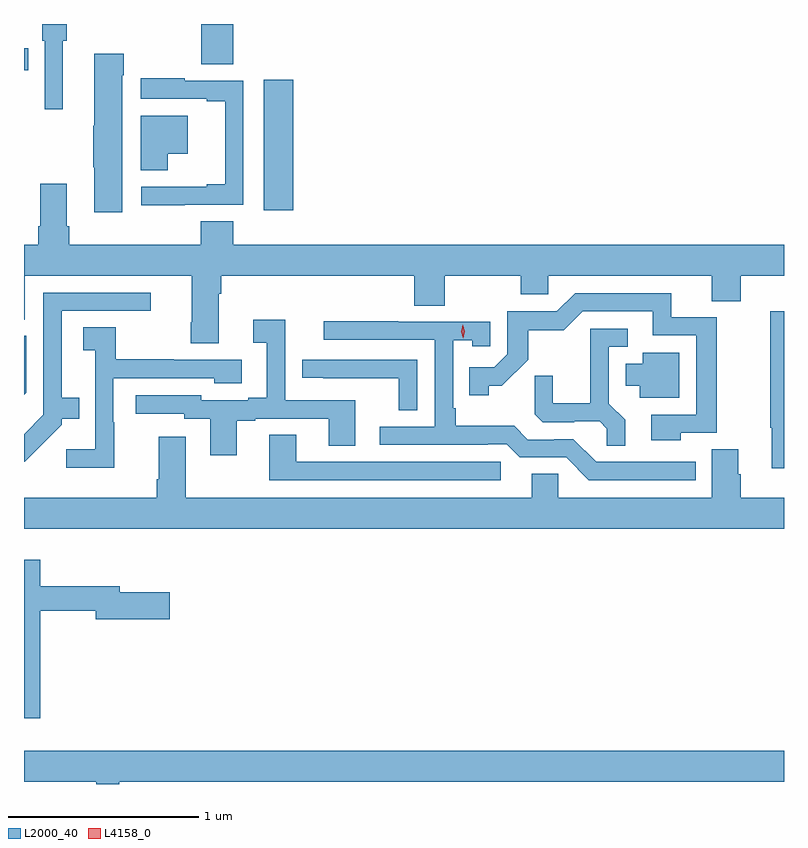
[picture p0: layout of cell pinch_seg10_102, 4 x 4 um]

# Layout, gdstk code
import gdstk
lib = gdstk.Library(unit=1e-6, precision=1e-09)
def R(c, l, rs):  # rectangles x0, y0, x1, y1
    for r in rs: c.add(gdstk.rectangle(r[:2], r[2:], *l))
def P(c, l, *ps):  # polygons
    for p in ps: c.add(gdstk.Polygon(p, *l))
L2000_40 = (2000, 40)
L4158_0 = (4158, 0)

pinch_seg10_102 = lib.new_cell('pinch_seg10_102')
R(pinch_seg10_102, L2000_40, [(695.477,1296.666,695.633,1297.351), (694.215,1297.402,694.238,1297.518), (695.149,1297.432,695.315,1297.645)])
P(pinch_seg10_102, L2000_40, [(694.42,1297.556),(694.439,1297.556),(694.439,1297.645),(694.31,1297.645),(694.31,1297.556),(694.323,1297.556),(694.323,1297.197),(694.42,1297.197)],
  [(694.732,1297.376),(694.74,1297.376),(694.74,1297.489),(694.586,1297.489),(694.586,1297.109),(694.579,1297.109),(694.579,1296.892),(694.586,1296.892),(694.586,1296.654),(694.732,1296.654)],
  [(695.06,1296.693),(695.37,1296.693),(695.37,1297.347),(695.06,1297.347),(695.06,1297.36),(694.83,1297.36),(694.83,1297.251),(695.177,1297.251),(695.177,1297.239),(695.273,1297.239),(695.273,1296.802),(695.177,1296.802),(695.177,1296.789),(694.833,1296.789),(694.833,1296.692),(695.06,1296.692)],
  [(694.971,1296.962),(695.077,1296.962),(695.077,1297.162),(694.829,1297.162),(694.829,1296.874),(694.971,1296.874)],
  [(695.239,1296.224),(695.252,1296.224),(695.252,1296.32),(696.269,1296.32),(696.269,1296.163),(696.429,1296.163),(696.429,1296.32),(696.829,1296.32),(696.829,1296.222),(696.975,1296.222),(696.975,1296.32),(697.835,1296.32),(697.835,1296.187),(697.988,1296.187),(697.988,1296.32),(698.215,1296.32),(698.215,1296.484),(695.315,1296.484),(695.315,1296.608),(695.144,1296.608),(695.144,1296.484),(694.454,1296.484),(694.454,1296.58),(694.441,1296.58),(694.441,1296.805),(694.301,1296.805),(694.301,1296.58),(694.289,1296.58),(694.289,1296.484),(694.215,1296.484),(694.215,1296.088),(694.219,1296.088),(694.219,1296.32),(695.099,1296.32),(695.099,1296.076),(695.092,1296.076),(695.092,1295.964),(695.239,1295.964)],
  [(694.413,1295.535),(694.413,1295.567),(694.505,1295.567),(694.505,1295.677),(694.414,1295.677),(694.414,1296.135),(694.882,1296.135),(694.882,1296.231),(694.317,1296.231),(694.317,1295.589),(694.215,1295.487),(694.215,1295.34),(694.218,1295.34)],
  [(697.671,1295.493),(697.861,1295.493),(697.861,1296.102),(697.622,1296.102),(697.622,1296.228),(697.116,1296.228),(697.02,1296.132),(696.759,1296.132),(696.759,1295.907),(696.69,1295.838),(696.559,1295.838),(696.559,1295.691),(696.66,1295.691),(696.66,1295.741),(696.73,1295.741),(696.868,1295.878),(696.868,1296.034),(697.057,1296.034),(697.155,1296.132),(697.523,1296.132),(697.523,1296.006),(697.752,1296.006),(697.752,1295.589),(697.515,1295.589),(697.515,1295.453),(697.671,1295.453)],
  [(698.215,1296.133),(698.143,1296.133),(698.143,1295.519),(698.15,1295.519),(698.15,1295.307),(698.215,1295.307)],
  [(695.335,1295.556),(695.431,1295.556),(695.431,1295.568),(695.819,1295.568),(695.819,1295.425),(695.959,1295.425),(695.959,1295.664),(695.589,1295.664),(695.589,1296.088),(695.421,1296.088),(695.421,1295.968),(695.492,1295.968),(695.492,1295.677),(695.396,1295.677),(695.396,1295.664),(695.148,1295.664),(695.148,1295.691),(694.803,1295.691),(694.803,1295.595),(695.058,1295.595),(695.058,1295.568),(695.195,1295.568),(695.195,1295.376),(695.335,1295.376)],
  [(697.75,1295.34),(697.227,1295.34),(697.107,1295.46),(697.006,1295.46),(697.006,1295.457),(696.867,1295.457),(696.794,1295.53),(696.487,1295.53),(696.487,1295.623),(696.474,1295.623),(696.474,1295.981),(696.573,1295.981),(696.573,1295.949),(696.669,1295.949),(696.669,1296.078),(696.185,1296.078),(696.185,1296.081),(695.793,1296.081),(695.793,1295.982),(696.378,1295.982),(696.378,1295.526),(696.087,1295.526),(696.087,1295.43),(696.656,1295.43),(696.656,1295.433),(696.756,1295.433),(696.825,1295.364),(697.068,1295.364),(697.188,1295.244),(697.75,1295.244)],
  [(694.689,1295.549),(694.686,1295.549),(694.686,1295.781),(695.217,1295.781),(695.217,1295.753),(695.362,1295.753),(695.362,1295.877),(695.003,1295.877),(695.003,1295.88),(694.699,1295.88),(694.699,1296.05),(694.527,1296.05),(694.527,1295.929),(694.59,1295.929),(694.59,1295.407),(694.437,1295.407),(694.437,1295.309),(694.689,1295.309)],
  [(697.379,1295.561),(697.293,1295.647),(697.293,1295.946),(697.393,1295.946),(697.393,1296.042),(697.196,1296.042),(697.196,1295.65),(696.998,1295.65),(696.998,1295.793),(696.904,1295.793),(696.904,1295.591),(696.945,1295.55),(697.11,1295.55),(697.11,1295.553),(697.244,1295.553),(697.281,1295.516),(697.281,1295.425),(697.379,1295.425)],
  [(694.227,1295.705),(694.227,1296.003),(694.215,1296.003),(694.215,1295.693)],
  [(697.663,1295.914),(697.472,1295.914),(697.472,1295.857),(697.382,1295.857),(697.382,1295.741),(697.457,1295.741),(697.457,1295.678),(697.663,1295.678)],
  [(696.285,1295.877),(695.679,1295.877),(695.679,1295.782),(695.791,1295.782),(695.791,1295.781),(696.187,1295.781),(696.187,1295.611),(696.285,1295.611)],
  [(696.724,1295.34),(695.647,1295.34),(695.647,1295.483),(695.507,1295.483),(695.507,1295.244),(696.724,1295.244)],
  [(698.215,1295.152),(697.988,1295.152),(697.988,1295.274),(697.975,1295.274),(697.975,1295.408),(697.835,1295.408),(697.835,1295.152),(697.026,1295.152),(697.026,1295.279),(696.887,1295.279),(696.887,1295.152),(695.065,1295.152),(695.065,1295.473),(694.925,1295.473),(694.925,1295.248),(694.913,1295.248),(694.913,1295.152),(694.215,1295.152),(694.215,1294.988),(698.215,1294.988)],
  [(694.301,1294.558),(694.592,1294.558),(694.592,1294.511),(694.981,1294.511),(694.981,1294.653),(694.72,1294.653),(694.72,1294.687),(694.301,1294.687),(694.301,1294.825),(694.215,1294.825),(694.215,1293.99),(694.301,1293.99)],
  [(694.717,1293.656),(698.215,1293.656),(698.215,1293.82),(694.215,1293.82),(694.215,1293.656),(694.595,1293.656),(694.595,1293.645),(694.717,1293.645)])
P(pinch_seg10_102, L4158_0, [(696.526,1295.991),(696.526,1295.991),(696.515,1296.026),(696.523,1296.063),(696.524,1296.063),(696.524,1296.063),(696.535,1296.027),(696.526,1295.991)])

lib.write_gds('pinch_seg10_102.gds')
